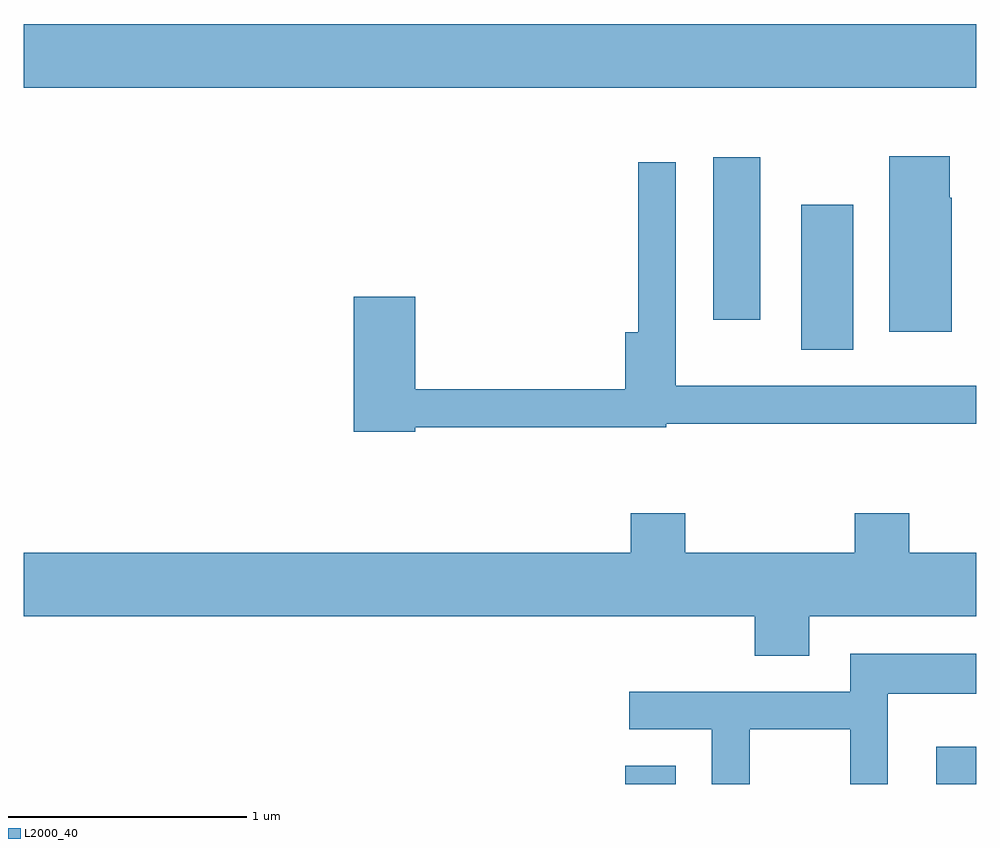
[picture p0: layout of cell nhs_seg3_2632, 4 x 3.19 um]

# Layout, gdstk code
import gdstk
lib = gdstk.Library(unit=1e-6, precision=1e-09)
def R(c, l, rs):  # rectangles x0, y0, x1, y1
    for r in rs: c.add(gdstk.rectangle(r[:2], r[2:], *l))
def P(c, l, *ps):  # polygons
    for p in ps: c.add(gdstk.Polygon(p, *l))
L2000_40 = (2000, 40)

nhs_seg3_2632 = lib.new_cell('nhs_seg3_2632')
R(nhs_seg3_2632, L2000_40, [(264.136,1211.892,264.349,1211.969), (265.443,1211.892,265.611,1212.049), (264.876,1213.716,265.094,1214.324), (264.506,1213.841,264.704,1214.524), (261.611,1214.816,265.611,1215.084)])
P(nhs_seg3_2632, L2000_40, [(265.509,1214.355),(265.499,1214.355),(265.499,1214.529),(265.246,1214.529),(265.246,1213.791),(265.509,1213.791)],
  [(263.254,1213.391),(264.31,1213.391),(264.31,1213.406),(265.611,1213.406),(265.611,1213.564),(264.349,1213.564),(264.349,1214.503),(264.191,1214.503),(264.191,1213.789),(264.136,1213.789),(264.136,1213.549),(263.254,1213.549),(263.254,1213.939),(262.996,1213.939),(262.996,1213.371),(263.254,1213.371)],
  [(264.909,1212.596),(265.611,1212.596),(265.611,1212.864),(265.329,1212.864),(265.329,1213.029),(265.101,1213.029),(265.101,1212.864),(264.389,1212.864),(264.389,1213.029),(264.161,1213.029),(264.161,1212.864),(261.611,1212.864),(261.611,1212.596),(264.681,1212.596),(264.681,1212.431),(264.909,1212.431)],
  [(264.659,1212.121),(265.081,1212.121),(265.081,1211.892),(265.239,1211.892),(265.239,1212.271),(265.611,1212.271),(265.611,1212.439),(265.081,1212.439),(265.081,1212.279),(264.153,1212.279),(264.153,1212.121),(264.501,1212.121),(264.501,1211.892),(264.659,1211.892)])

lib.write_gds('nhs_seg3_2632.gds')
